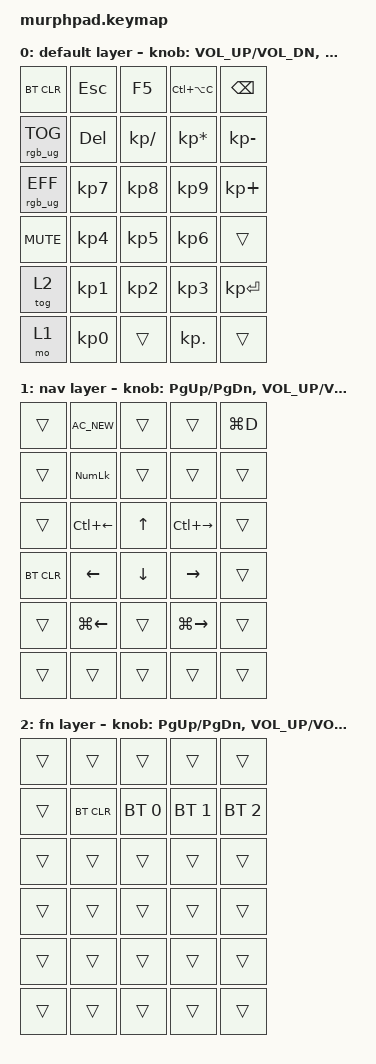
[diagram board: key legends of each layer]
/*
 * Copyright (c) 2021 The ZMK Contributors
 *
 * SPDX-License-Identifier: MIT
 */

#include <behaviors.dtsi>
#include <dt-bindings/zmk/keys.h>
#include <dt-bindings/zmk/bt.h>
#include <dt-bindings/zmk/rgb.h>


#define TIMEOUT 300

&encoder_1 {
    status = "okay";
};

&encoder_2 {
    status = "okay";
};

/ {
    combos {
        compatible = "zmk,combos";
        combo_btclr {
            timeout-ms = <TIMEOUT>;
            key-positions = <1 6>;
            bindings = <&bt BT_CLR>;
        };
        combo_reset {
            timeout-ms = <TIMEOUT>;
            key-positions = <1 3>;
            bindings = <&reset>;
        };
        combo_bootloader {
            timeout-ms = <TIMEOUT>;
            key-positions = <1 2>;
            bindings = <&bootloader>;
        };
        combo_bt_nxt {
            timeout-ms = <TIMEOUT>;
            key-positions = <1 4>;
            bindings = <&bt BT_NXT>;
        };
    };
    
    sensors {
        compatible = "zmk,keymap-sensors";
        sensors = <&encoder_1 &encoder_2>;
    };


    keymap0: keymap {
        compatible = "zmk,keymap";

        default_layer {
            label = " default layer";
            bindings = <
                &bt BT_CLR       &kp ESC      &kp F5          &kp LC(LA(C))     &kp BSPC   
                &rgb_ug RGB_TOG  &kp DEL      &kp KP_DIVIDE   &kp KP_MULTIPLY   &kp KP_MINUS    
                &rgb_ug RGB_EFF  &kp KP_N7    &kp KP_N8       &kp KP_N9         &kp KP_PLUS   
                &kp C_MUTE       &kp KP_N4    &kp KP_N5       &kp KP_N6         &trans
                &tog 2            &kp KP_N1    &kp KP_N2       &kp KP_N3         &kp KP_ENTER
                &mo 1         &kp KP_N0    &trans          &kp KP_DOT        &trans
            >;
            sensor-bindings = <&inc_dec_kp C_VOL_UP C_VOL_DN &inc_dec_kp PG_UP PG_DN>;

        }; 
        
        nav_layer {
            label = " nav layer";
            bindings = <
                &trans      &kp C_AC_NEW     &trans        &trans          &kp LG(D)  
                &trans      &kp KP_NUM &trans        &trans          &trans     
                &trans      &kp LC(LEFT_ARROW)     &kp UP_ARROW        &kp LC(RIGHT_ARROW)             &trans
                &bt BT_CLR  &kp LEFT_ARROW     &kp DOWN_ARROW        &kp RIGHT_ARROW          &trans  
                &trans      &kp LG(LEFT_ARROW)     &trans        &kp LG(RIGHT_ARROW)             &trans
                &trans        &trans     &trans        &trans          &trans           
            >;  
            sensor-bindings = <&inc_dec_kp PG_UP PG_DN &inc_dec_kp C_VOL_UP C_VOL_DN>;
                
        };
        
            fn_layer {
            label = " fn layer";
            bindings = <
                &trans      &trans     &trans        &trans          &trans  
                &trans      &bt BT_CLR &bt BT_SEL 0  &bt BT_SEL 1    &bt BT_SEL 2   
                &trans      &trans     &trans        &trans             &trans
                &trans      &trans     &trans        &trans          &trans    
                &trans      &trans     &trans        &trans          &trans
                &trans        &trans     &trans        &trans          &trans           
            >;  
            sensor-bindings = <&inc_dec_kp PG_UP PG_DN &inc_dec_kp C_VOL_UP C_VOL_DN>;
                
        };
    };
};
